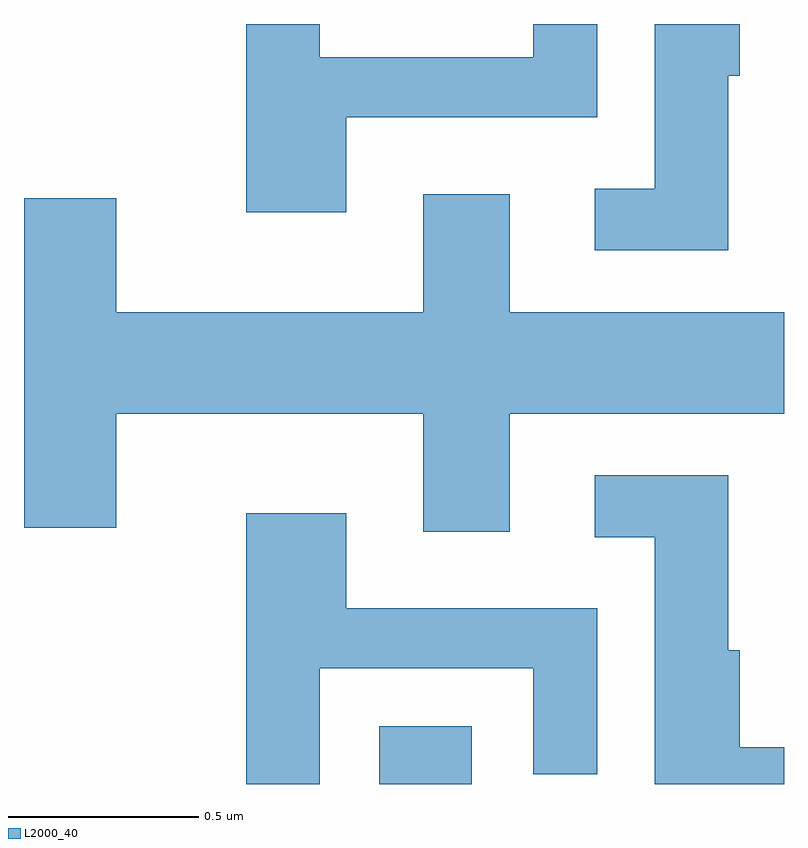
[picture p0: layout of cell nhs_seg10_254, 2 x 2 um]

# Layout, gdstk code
import gdstk
lib = gdstk.Library(unit=1e-6, precision=1e-09)
def R(c, l, rs):  # rectangles x0, y0, x1, y1
    for r in rs: c.add(gdstk.rectangle(r[:2], r[2:], *l))
def P(c, l, *ps):  # polygons
    for p in ps: c.add(gdstk.Polygon(p, *l))
L2000_40 = (2000, 40)

nhs_seg10_254 = lib.new_cell('nhs_seg10_254')
R(nhs_seg10_254, L2000_40, [(187.546,2199.522,187.789,2199.674)])
P(nhs_seg10_254, L2000_40, [(187.459,2201.276),(188.119,2201.276),(188.119,2201.522),(187.951,2201.522),(187.951,2201.434),(187.389,2201.434),(187.389,2201.522),(187.196,2201.522),(187.196,2201.026),(187.459,2201.026)],
  [(188.464,2201.386),(188.494,2201.386),(188.494,2201.522),(188.271,2201.522),(188.271,2201.089),(188.113,2201.089),(188.113,2200.926),(188.464,2200.926)],
  [(187.889,2200.496),(188.611,2200.496),(188.611,2200.764),(187.889,2200.764),(187.889,2201.074),(187.661,2201.074),(187.661,2200.764),(186.854,2200.764),(186.854,2201.064),(186.611,2201.064),(186.611,2200.196),(186.854,2200.196),(186.854,2200.496),(187.661,2200.496),(187.661,2200.186),(187.889,2200.186)],
  [(188.611,2199.619),(188.494,2199.619),(188.494,2199.874),(188.464,2199.874),(188.464,2200.334),(188.113,2200.334),(188.113,2200.171),(188.271,2200.171),(188.271,2199.522),(188.611,2199.522)],
  [(187.389,2199.826),(187.951,2199.826),(187.951,2199.548),(188.119,2199.548),(188.119,2199.984),(187.459,2199.984),(187.459,2200.234),(187.196,2200.234),(187.196,2199.522),(187.389,2199.522)])

lib.write_gds('nhs_seg10_254.gds')
